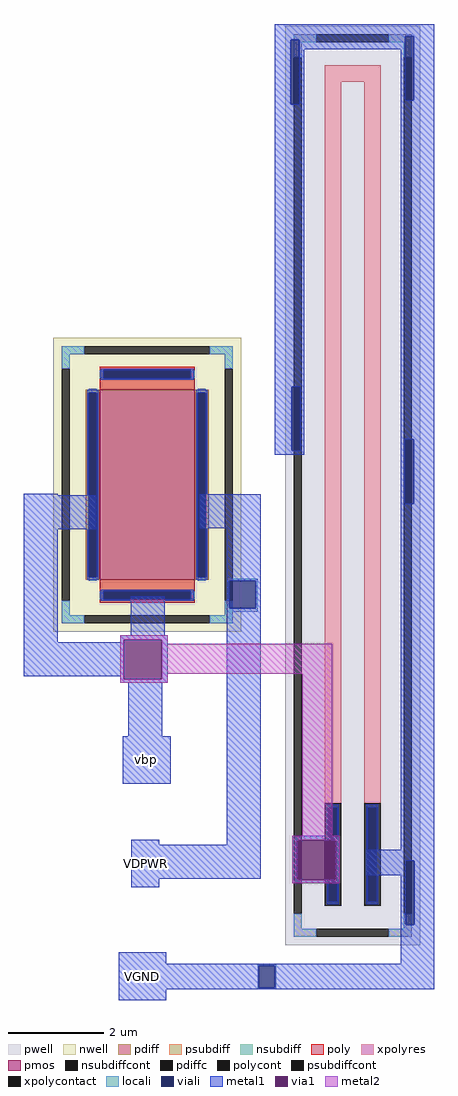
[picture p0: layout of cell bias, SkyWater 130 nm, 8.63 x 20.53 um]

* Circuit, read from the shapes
.subckt bias VDPWR VGND vbp
XM1 VDPWR vbp vbp VDPWR sky130_fd_pr__pfet_01v8 w=4 l=2
XR2 vbp VGND VGND sky130_fd_pr__res_xhigh_po w=0.35 l=31.52
.ends

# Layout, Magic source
magic
tech sky130A
magscale 1 2
<< locali >>
rect 446 930 572 938
rect 446 814 452 930
rect 564 814 572 930
rect 446 800 572 814
rect 572 -690 650 -684
rect 572 -782 578 -690
rect 644 -782 650 -690
rect 572 -786 650 -782
<< viali >>
rect 712 2934 748 3204
rect 1194 2950 1230 3220
rect 716 1476 752 1746
rect 1192 1254 1228 1524
rect 452 814 564 930
rect 1196 -518 1232 -248
rect 578 -782 644 -690
<< metal1 >>
rect 645 3220 1315 3271
rect 645 3204 1194 3220
rect 645 2934 712 3204
rect 748 3165 1194 3204
rect 748 2934 768 3165
rect 645 1746 768 2934
rect 645 1476 716 1746
rect 752 1476 768 1746
rect 645 1460 768 1476
rect 1174 2950 1194 3165
rect 1230 2950 1315 3220
rect 1174 1524 1315 2950
rect 645 1459 751 1460
rect -411 1288 -269 1295
rect -411 1145 -109 1288
rect 330 1150 585 1293
rect -411 670 -269 1145
rect 442 930 585 1150
rect 38 700 181 865
rect 442 814 452 930
rect 564 814 585 930
rect -6 682 194 700
rect -6 670 10 682
rect -411 528 10 670
rect -250 527 10 528
rect -6 516 10 527
rect 170 516 194 682
rect -6 500 194 516
rect 28 276 171 500
rect 6 76 206 276
rect 40 -180 158 -160
rect 442 -180 585 814
rect 1174 1254 1192 1524
rect 1228 1254 1315 1524
rect 40 -323 585 -180
rect 718 -162 918 -144
rect 40 -360 158 -323
rect 718 -328 740 -162
rect 900 -328 918 -162
rect 1174 -203 1315 1254
rect 1035 -248 1315 -203
rect 1035 -309 1196 -248
rect 718 -344 918 -328
rect 1174 -518 1196 -309
rect 1232 -518 1315 -248
rect -12 -682 188 -634
rect 1174 -682 1315 -518
rect -12 -690 1315 -682
rect -12 -782 578 -690
rect 644 -782 1315 -690
rect -12 -788 1315 -782
rect -12 -834 188 -788
<< via1 >>
rect 10 516 170 682
rect 740 -328 900 -162
<< metal2 >>
rect -6 682 194 700
rect -6 516 10 682
rect 170 664 194 682
rect 170 538 887 664
rect 170 516 194 538
rect -6 500 194 516
rect 761 -144 887 538
rect 718 -162 918 -144
rect 718 -328 740 -162
rect 900 -328 918 -162
rect 718 -344 918 -328
use sky130_fd_pr__res_xhigh_po_0p35_F4YSJB  sky130_fd_pr__res_xhigh_po_0p35_F4YSJB_0
transform 1 0 972 0 1 1330
box -284 -1934 284 1934
use sky130_fd_pr__pfet_01v8_BNUP93  XMP_REF
transform 1 0 108 0 1 1333
box -396 -619 396 619
<< labels >>
flabel metal1 -12 -834 188 -634 0 FreeSans 1600 0 0 0 VGND
port 1 nsew
flabel metal1 6 76 206 276 0 FreeSans 1600 0 0 0 vbp
port 2 nsew
flabel metal1 40 -360 158 -160 0 FreeSans 1600 0 0 0 VDPWR
port 0 nsew
<< end >>

# cell sky130_fd_pr__res_xhigh_po_0p35_F4YSJB: kit device sky130_fd_pr__res_xhigh_po_0p35, w 0.35 l 15 m 1 nx 2 wmin 0.350 lmin 0.50 class resistor rho 2000 val 174.504k dummy 0 dw 0.0 term 188.2 sterm 0.0 caplen 0 wmax 0.350 guard 1 glc 1 grc 1 gtc 1 gbc 1 compatible {sky130_fd_pr__res_xhigh_po_0p35 sky130_fd_pr__res_xhigh_po_0p69 sky130_fd_pr__res_xhigh_po_1p41 sky130_fd_pr__res_xhigh_po_2p85 sky130_fd_pr__res_xhigh_po_5p73} snake 1 full_metal 1 n_guard 0 hv_guard 0 vias 1 viagb 0 viagt 0 viagl 0 viagr 0 doports 1

# cell sky130_fd_pr__pfet_01v8_BNUP93: kit device sky130_fd_pr__pfet_01v8, w 4.0 l 2.0 m 1 nf 1 diffcov 100 polycov 100 guard 1 glc 1 grc 1 gtc 1 gbc 1 tbcov 100 rlcov 100 topc 1 botc 1 poverlap 0 doverlap 1 lmin 0.15 wmin 0.42 class mosfet compatible {sky130_fd_pr__pfet_01v8 sky130_fd_pr__pfet_01v8_lvt sky130_fd_pr__pfet_01v8_hvt sky130_fd_pr__pfet_g5v0d10v5} full_metal 1 conn_gates 0 viasrc 100 viadrn 100 viagate 100 viagb 0 viagr 0 viagl 0 viagt 0 doports 1 ad {int((nf+1)/2) * W/nf * 0.29} as {int((nf+2)/2) * W/nf * 0.29} pd {2*int((nf+1)/2) * (W/nf + 0.29)} ps {2*int((nf+2)/2) * (W/nf + 0.29)} nrd {0.29 / W} nrs {0.29 / W} sa 0 sb 0 sd 0 mult 1
